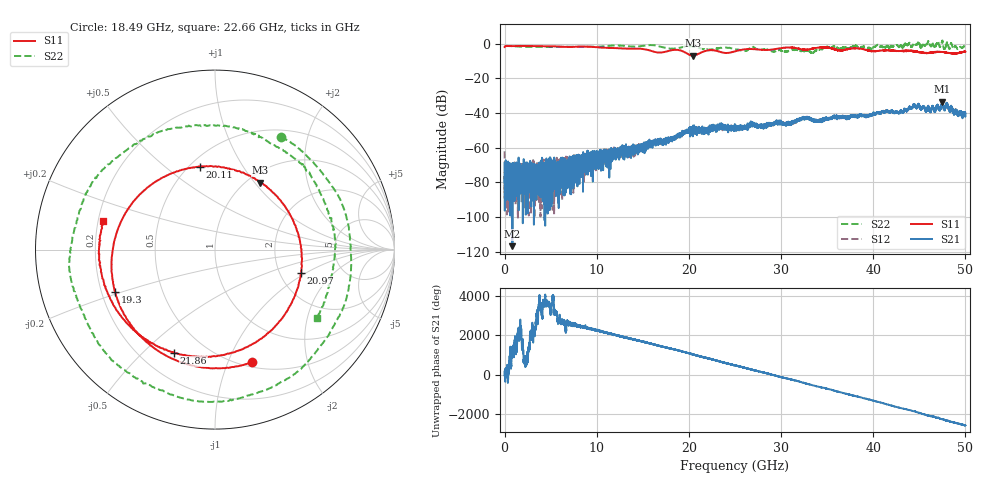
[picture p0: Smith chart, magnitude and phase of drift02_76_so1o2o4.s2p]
!Created with skrf (http://scikit-rf.org).
# Hz S RI R 50.0
!freq ReS11 ImS11 ReS21 ImS21 ReS12 ImS12 ReS22 ImS22
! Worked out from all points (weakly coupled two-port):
!   10001 points, 300 kHz to 50 GHz, reference 50 ohm
!   highest |S21| = -33.58 dB at 47.49 GHz (marker M1); lowest = -116.8 dB at 840.3 MHz (marker M2)
!   lowest |S11| = -6.9 dB at 20.43 GHz (marker M3), VSWR 2.64, Z = 57.1 + j53.6 ohm
!   |S11| at or under -10 dB: nowhere
!   |S22| runs from -5.4 to 1.8 dB; largest |S21 - S12| = 0.0034
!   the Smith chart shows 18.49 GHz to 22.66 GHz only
!   S11 on the Smith chart (normalised r, x): 18.49 GHz: 0.55, -1.23; 19.3 GHz: 0.26, -0.19; 20.11 GHz: 0.56, +0.67; 20.97 GHz: 2.62, -0.91; 21.86 GHz: 0.34, -0.63; 22.66 GHz: 0.22, +0.12
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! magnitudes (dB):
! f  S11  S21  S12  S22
! 300 kHz  -2.1  -69.0  -62.1  -1.3
! 255.3 MHz  -1.4  -84.6  -78.3  -1.4
! 840.3 MHz  -1.5  -116.8  -78.6  -1.5
! 5.425 GHz  -1.6  -83.4  -76.0  -2.0
! 8.335 GHz  -1.7  -68.5  -69.6  -1.9
! 9.16 GHz  -1.8  -68.3  -67.6  -1.9
! 16.67 GHz  -5.2  -55.1  -55.7  -1.5
! 18.49 GHz  -3.6  -55.1  -54.4  -2.8
! 19.3 GHz  -4.4  -51.9  -51.3  -2.1
! 20.11 GHz  -6.6  -49.5  -49.5  -1.5
! 20.43 GHz  -6.9  -50.5  -49.4  -1.8
! 20.97 GHz  -6.1  -49.7  -49.9  -2.2
! 21.86 GHz  -4.2  -49.5  -48.7  -3.4
! 22.66 GHz  -3.9  -49.8  -48.9  -3.3
! 25 GHz  -4.5  -48.6  -47.9  -3.2
! 26.11 GHz  -3.3  -48.5  -49.0  -4.3
! 26.9 GHz  -3.2  -46.0  -46.6  -1.7
! 33.34 GHz  -3.0  -43.8  -43.8  -5.3
! 34.89 GHz  -2.2  -42.8  -43.4  -2.3
! 41.67 GHz  -3.9  -39.5  -39.4  -2.1
! 47.49 GHz  -4.8  -33.6  -33.6  1.3
! 50 GHz  -4.7  -40.5  -40.4  -1.5
